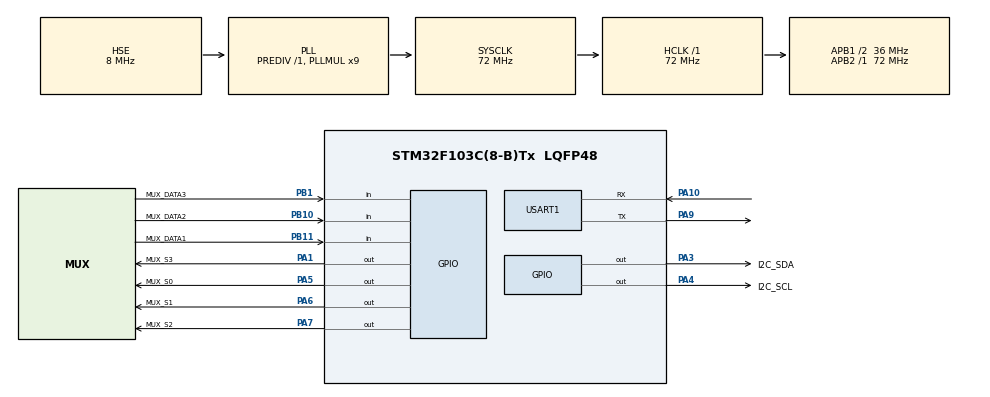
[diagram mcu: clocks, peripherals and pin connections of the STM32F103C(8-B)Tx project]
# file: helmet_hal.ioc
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Dma.Request0=USART1_TX
Dma.Request1=USART1_RX
Dma.USART1_RX.1.Direction=DMA_PERIPH_TO_MEMORY
Dma.USART1_RX.1.Instance=DMA1_Channel5
Dma.USART1_RX.1.MemDataAlignment=DMA_MDATAALIGN_BYTE
Dma.USART1_RX.1.MemInc=DMA_MINC_ENABLE
Dma.USART1_RX.1.Mode=DMA_CIRCULAR
Dma.USART1_RX.1.PeriphDataAlignment=DMA_PDATAALIGN_BYTE
Dma.USART1_RX.1.PeriphInc=DMA_PINC_DISABLE
Dma.USART1_RX.1.Priority=DMA_PRIORITY_LOW
Dma.USART1_TX.0.Direction=DMA_MEMORY_TO_PERIPH
Dma.USART1_TX.0.Instance=DMA1_Channel4
Dma.USART1_TX.0.MemDataAlignment=DMA_MDATAALIGN_BYTE
Dma.USART1_TX.0.MemInc=DMA_MINC_ENABLE
Dma.USART1_TX.0.Mode=DMA_NORMAL
Dma.USART1_TX.0.PeriphDataAlignment=DMA_PDATAALIGN_BYTE
Dma.USART1_TX.0.PeriphInc=DMA_PINC_DISABLE
Dma.USART1_TX.0.Priority=DMA_PRIORITY_LOW
IWDG.Prescaler=IWDG_PRESCALER_64
IWDG.Reload=500
Mcu.Family=STM32F1
Mcu.Name=STM32F103C(8-B)Tx
Mcu.Package=LQFP48
NVIC.DMA1_Channel4_IRQn=true\:0\:0\:false\:false\:true\:false\:true\:true
NVIC.DMA1_Channel5_IRQn=true\:0\:0\:false\:false\:true\:false\:true\:true
NVIC.PriorityGroup=NVIC_PRIORITYGROUP_2
NVIC.TIM2_IRQn=true\:1\:1\:true\:false\:true\:true\:true\:true
NVIC.TIM3_IRQn=true\:2\:2\:true\:false\:true\:true\:true\:true
NVIC.TIM4_IRQn=true\:3\:0\:false\:false\:true\:false\:true\:true
NVIC.TimeBase=TIM4_IRQn
NVIC.TimeBaseIP=TIM4
NVIC.USART1_IRQn=true\:0\:0\:false\:false\:true\:true\:true\:true
PA1.GPIO_Label=MUX_S3
PA1.Signal=GPIO_Output
PA10.GPIO_PuPd=GPIO_PULLUP
PA10.Mode=Asynchronous
PA10.Signal=USART1_RX
PA13.Mode=Serial_Wire
PA13.Signal=SYS_JTMS-SWDIO
PA14.Mode=Serial_Wire
PA14.Signal=SYS_JTCK-SWCLK
PA3.GPIO_Label=I2C_SDA
PA3.GPIO_ModeDefaultOutputPP=GPIO_MODE_OUTPUT_OD
PA3.GPIO_PuPd=GPIO_NOPULL
PA3.GPIO_Speed=GPIO_SPEED_FREQ_HIGH
PA3.PinState=GPIO_PIN_SET
PA3.Signal=GPIO_Output
PA4.GPIO_Label=I2C_SCL
PA4.GPIO_ModeDefaultOutputPP=GPIO_MODE_OUTPUT_OD
PA4.GPIO_PuPd=GPIO_NOPULL
PA4.GPIO_Speed=GPIO_SPEED_FREQ_HIGH
PA4.PinState=GPIO_PIN_SET
PA4.Signal=GPIO_Output
PA5.GPIO_Label=MUX_S0
PA5.PinState=GPIO_PIN_RESET
PA5.Signal=GPIO_Output
PA6.GPIO_Label=MUX_S1
PA6.Signal=GPIO_Output
PA7.GPIO_Label=MUX_S2
PA7.Signal=GPIO_Output
PA9.Mode=Asynchronous
PA9.Signal=USART1_TX
PB1.GPIO_Label=MUX_DATA3
PB1.GPIO_PuPd=GPIO_PULLUP
PB1.Signal=GPIO_Input
PB10.GPIO_Label=MUX_DATA2
PB10.GPIO_PuPd=GPIO_PULLUP
PB10.Signal=GPIO_Input
PB11.GPIO_Label=MUX_DATA1
PB11.GPIO_PuPd=GPIO_PULLUP
PB11.Signal=GPIO_Input
PD0-OSC_IN.Mode=HSE-External-Oscillator
PD0-OSC_IN.Signal=RCC_OSC_IN
PD1-OSC_OUT.Mode=HSE-External-Oscillator
PD1-OSC_OUT.Signal=RCC_OSC_OUT
ProjectManager.HeapSize=0x200
ProjectManager.StackSize=0x400
ProjectManager.TargetToolchain=CMake
RCC.AHBFreq_Value=72000000
RCC.APB1CLKDivider=RCC_HCLK_DIV2
RCC.APB1Freq_Value=36000000
RCC.APB1TimFreq_Value=72000000
RCC.APB2Freq_Value=72000000
RCC.APB2TimFreq_Value=72000000
RCC.HCLKFreq_Value=72000000
RCC.PLLMUL=RCC_PLL_MUL9
RCC.PLLSourceVirtual=RCC_PLLSOURCE_HSE
RCC.SYSCLKFreq_VALUE=72000000
RCC.SYSCLKSource=RCC_SYSCLKSOURCE_PLLCLK
RCC.USBFreq_Value=72000000
TIM2.AutoReloadPreload=TIM_AUTORELOAD_PRELOAD_ENABLE
TIM2.Period=500
TIM2.Prescaler=7200-1
TIM3.AutoReloadPreload=TIM_AUTORELOAD_PRELOAD_ENABLE
TIM3.Period=3600-1
TIM3.Prescaler=1000-1
USART1.VirtualMode=VM_ASYNC
VP_IWDG_VS_IWDG.Mode=IWDG_Activate
VP_SYS_VS_tim4.Mode=TIM4
VP_TIM2_VS_ClockSourceINT.Mode=Internal
VP_TIM3_VS_ClockSourceINT.Mode=Internal
board=custom

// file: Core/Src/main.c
/* USER CODE BEGIN Header */
/**
  ******************************************************************************
  * @file           : main.c
  * @brief          : Main program body
  ******************************************************************************
  * @attention
  *
  * Copyright (c) 2026 STMicroelectronics.
  * All rights reserved.
  *
  * This software is licensed under terms that can be found in the LICENSE file
  * in the root directory of this software component.
  * If no LICENSE file comes with this software, it is provided AS-IS.
  *
  ******************************************************************************
  */
/* USER CODE END Header */
#include "main.h"
#include "dma.h"
#include "iwdg.h"
#include "tim.h"
#include "usart.h"
#include "gpio.h"

/* USER CODE BEGIN Includes */
#include "Delay.h"           /* DWT 微秒延时 */
#include "I2Csml.h"          /* 软件模拟 I2C */
#include "myPCA9685.h"       /* PCA9685 PWM 驱动器 */
#include "mymux.h"           /* CD74HCx4067 多路复用器 */
#include "Move_Control.h"    /* 运动控制数据结构 */
#include "singlemove.h"      /* SMA 运动控制 */
#include "myusart.h"         /* 串口发送 */
#include "ringbuffer.h"      /* DMA+IDLE 环形帧接收 */
/* USER CODE END Includes */

/* USER CODE BEGIN PV */
static uint16_t loop_cnt = 0;   /* 主循环计数器，每 20 次循环执行一次触点控制 */
/* USER CODE END PV */

void SystemClock_Config(void);
/* USER CODE BEGIN PFP */
static void All_PWM_Off(void);
/* USER CODE END PFP */

int main(void)
{

  /* USER CODE BEGIN 1 */
//11111111
  /* USER CODE END 1 */

  /* MCU Configuration--------------------------------------------------------*/

  /* Reset of all peripherals, Initializes the Flash interface and the Systick. */
  HAL_Init();

  /* Configure the system clock */
  SystemClock_Config();

  /* Initialize all configured peripherals */
  MX_GPIO_Init();
  MX_DMA_Init();
  MX_TIM2_Init();
  MX_TIM3_Init();
  MX_USART1_UART_Init();
  MX_IWDG_Init();
  /* USER CODE BEGIN 2 */
  /* ---- 用户自定义初始化 ---- */
  Delay_Init();                   /* DWT 延时模块初始化 */
  Motion_Init();                  /* 运动控制数据结构初始化 */
  I2C_INIT();                     /* 软件 I2C 引脚拉高（空闲状态） */
  PCA9685_InitAll(100);           /* 6 片 PCA9685 初始化，PWM 频率 100Hz */

  /* 所有 PWM 通道清零，防止上电瞬间误触发 */
  All_PWM_Off();

  /* 启动 TIM2（20Hz：串口接收处理 + 状态上报） */
  HAL_TIM_Base_Start_IT(&htim2);

  /* 启动 TIM3（20Hz：MUX 传感器扫描） */
  Mux_Start();

  /* 启动 DMA + IDLE 中断接收（每帧仅 1 次中断） */
  RingBuf_Start(&huart1);

  Delay_ms(10);
  Serial_SendByte(0x01);          /* 通知上位机：初始化完成，就绪 */

  /* SMA → PCA9685 通道映射配置 */
  PWM_Rearrange_Init();

  /* 颈动触点抖动测试：确认通讯与控制链路正常 */
  setPWM(PCA9685_ADDR_1, 1, 4000);
  /* USER CODE END 2 */

  /* Infinite loop */
  while (1)
  {

    /* USER CODE BEGIN 3 */
    loop_cnt++;                                   /* 主循环计数器自增 */
    if (loop_cnt >= 20)                           /* 每 20 次循环执行一次触点控制 */
    {
        Move_5_control();                          /* 8 组 × 5 触点完整控制循环 */
        loop_cnt = 0;
    }
    HAL_IWDG_Refresh(&hiwdg);                     /* 喂狗，防止看门狗复位 */
  }
  /* USER CODE END 3 */
}

void SystemClock_Config(void)
{
  RCC_OscInitTypeDef RCC_OscInitStruct = {0};
  RCC_ClkInitTypeDef RCC_ClkInitStruct = {0};

  /** Initializes the RCC Oscillators according to the specified parameters
  * in the RCC_OscInitTypeDef structure.
  */
  RCC_OscInitStruct.OscillatorType = RCC_OSCILLATORTYPE_LSI|RCC_OSCILLATORTYPE_HSE;
  RCC_OscInitStruct.HSEState = RCC_HSE_ON;
  RCC_OscInitStruct.HSEPredivValue = RCC_HSE_PREDIV_DIV1;
  RCC_OscInitStruct.HSIState = RCC_HSI_ON;
  RCC_OscInitStruct.LSIState = RCC_LSI_ON;
  RCC_OscInitStruct.PLL.PLLState = RCC_PLL_ON;
  RCC_OscInitStruct.PLL.PLLSource = RCC_PLLSOURCE_HSE;
  RCC_OscInitStruct.PLL.PLLMUL = RCC_PLL_MUL9;
  if (HAL_RCC_OscConfig(&RCC_OscInitStruct) != HAL_OK)
  {
    Error_Handler();
  }

  /** Initializes the CPU, AHB and APB buses clocks
  */
  RCC_ClkInitStruct.ClockType = RCC_CLOCKTYPE_HCLK|RCC_CLOCKTYPE_SYSCLK
                              |RCC_CLOCKTYPE_PCLK1|RCC_CLOCKTYPE_PCLK2;
  RCC_ClkInitStruct.SYSCLKSource = RCC_SYSCLKSOURCE_PLLCLK;
  RCC_ClkInitStruct.AHBCLKDivider = RCC_SYSCLK_DIV1;
  RCC_ClkInitStruct.APB1CLKDivider = RCC_HCLK_DIV2;
  RCC_ClkInitStruct.APB2CLKDivider = RCC_HCLK_DIV1;

  if (HAL_RCC_ClockConfig(&RCC_ClkInitStruct, FLASH_LATENCY_2) != HAL_OK)
  {
    Error_Handler();
  }
}

/* USER CODE BEGIN 4 */

/**
  * @brief  关闭全部 6 片 PCA9685 的所有 PWM 通道
  *         用于初始化时清零和紧急停止
  */
static void All_PWM_Off(void)
{
    for (int a = 0; a < PCA9685_COUNT; a++)
        for (int ch = 0; ch < 16; ch++)
            setPWM(PCA9685_ADDR[a], ch, 0);
}

/**
  * @brief  HAL 串口 IDLE 中断回调（DMA+IDLE 接收方式）
  *         仅在线路空闲时触发，一整帧仅 1 次中断，大幅降低中断开销
  * @note   替代原逐字节中断方案（HAL_UART_RxCpltCallback）
  */
void HAL_UARTEx_RxEventCallback(UART_HandleTypeDef *huart, uint16_t Size)
{
    RingBuf_RxCallback(huart, Size);  /* 环形缓冲区帧提取 */
}

/* USER CODE END 4 */

void HAL_TIM_PeriodElapsedCallback(TIM_HandleTypeDef *htim)
{
  if (htim->Instance == TIM4)
  {
    HAL_IncTick();
  }
  /* USER CODE BEGIN Callback 1 */
  if (htim->Instance == TIM2)                    /* TIM2: 20Hz 串口处理与状态上报 */
  {
      RingBuf_Process();                         /* 环形缓冲区 → Cmd/Lock（DMA IDLE 方式） */
      AD_Rearrange();                            /* MUX 数据 → Point_Motion 当前值 */

      /* 发送 40 字节霍尔状态 + \r\n（42 字节/帧） */
      for (int i = 0; i < MAX_GROUPS; i++)
          for (int j = 0; j < POINTS_PER_GROUP; j++)
              Serial_SendByte(Point_Motion[i][j].HallValue_Actual);
      Serial_SendByte(0x0D);                     /* \r */
      Serial_SendByte(0x0A);                     /* \n */
  }
  else if (htim->Instance == TIM3)               /* TIM3: 20Hz MUX 传感器扫描 */
  {
      Mux_Scan();                                /* 16 通道 × 3 线 = 48 个值 */
  }
  /* USER CODE END Callback 1 */
}

void Error_Handler(void)
{
  __disable_irq();
  while (1)
  {
  }
}
